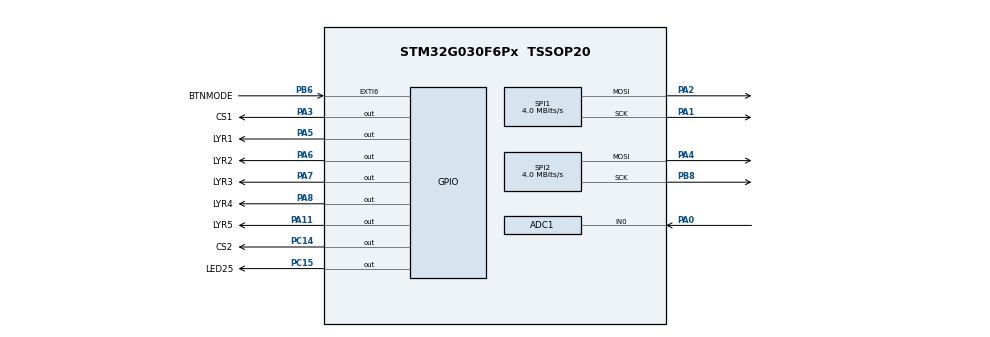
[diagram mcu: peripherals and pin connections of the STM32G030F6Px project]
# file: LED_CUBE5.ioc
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ADC1.Channel-0\#ChannelRegularConversion=ADC_CHANNEL_0
ADC1.NbrOfConversionFlag=1
ADC1.Rank-0\#ChannelRegularConversion=1
ADC1.SamplingTime-0\#ChannelRegularConversion=ADC_SAMPLINGTIME_COMMON_1
ADC1.SelectedChannel=ADC_CHANNEL_0
ADC1.master=1
Mcu.Family=STM32G0
Mcu.Name=STM32G030F6Px
Mcu.Package=TSSOP20
NVIC.EXTI4_15_IRQn=true\:0\:0\:false\:false\:true\:true\:true\:true
NVIC.TIM1_BRK_UP_TRG_COM_IRQn=true\:0\:0\:false\:false\:true\:true\:true\:true
NVIC.TIM3_IRQn=true\:0\:0\:false\:false\:true\:true\:true\:true
PA0.Mode=IN0
PA0.Signal=ADC1_IN0
PA1.Mode=TX_Only_Simplex_Unidirect_Master
PA1.Signal=SPI1_SCK
PA11\ [PA9].GPIO_Label=LYR5
PA11\ [PA9].Signal=GPIO_Output
PA13.Mode=Serial_Wire
PA13.Signal=SYS_SWDIO
PA14-BOOT0.Mode=Serial_Wire
PA14-BOOT0.Signal=SYS_SWCLK
PA14-BOOT0__PA15.StandardMode=true
PA2.Mode=TX_Only_Simplex_Unidirect_Master
PA2.Signal=SPI1_MOSI
PA3.GPIO_Label=CS1
PA3.Signal=GPIO_Output
PA4.Mode=TX_Only_Simplex_Unidirect_Master
PA4.Signal=SPI2_MOSI
PA5.GPIO_Label=LYR1
PA5.Signal=GPIO_Output
PA6.GPIO_Label=LYR2
PA6.Signal=GPIO_Output
PA7.GPIO_Label=LYR3
PA7.Signal=GPIO_Output
PA8.GPIO_Label=LYR4
PA8.Signal=GPIO_Output
PB0__PB1__PB2__PA8.StandardMode=true
PB3__PB4__PB5__PB6.StandardMode=true
PB6.GPIO_Label=BTNMODE
PB6.Signal=GPXTI6
PB7__PB8.StandardMode=true
PB8.Mode=TX_Only_Simplex_Unidirect_Master
PB8.Signal=SPI2_SCK
PC14-OSC32_IN\ (PC14).GPIO_Label=CS2
PC14-OSC32_IN\ (PC14).Signal=GPIO_Output
PC14-OSC32_IN\ (PC14)__PB9.StandardMode=true
PC15-OSC32_OUT\ (PC15).GPIO_Label=LED25
PC15-OSC32_OUT\ (PC15).Signal=GPIO_Output
ProjectManager.HeapSize=0x200
ProjectManager.StackSize=0x400
ProjectManager.TargetToolchain=STM32CubeIDE
RCC.ADCFreq_Value=64000000
RCC.AHBFreq_Value=64000000
RCC.CortexFreq_Value=64000000
RCC.EXTERNAL_CLOCK_VALUE=12288000
RCC.HCLKFreq_Value=64000000
RCC.HSE_VALUE=8000000
RCC.HSI_VALUE=16000000
RCC.LSE_VALUE=32768
RCC.SYSCLKFreq_VALUE=64000000
RCC.SYSCLKSource=RCC_SYSCLKSOURCE_PLLCLK
RCC.USART1CLockSelection=RCC_USART1CLKSOURCE_SYSCLK
RCC.VCOOutputFreq_Value=128000000
SPI1.BaudRatePrescaler=SPI_BAUDRATEPRESCALER_16
SPI1.CalculateBaudRate=4.0 MBits/s
SPI1.DataSize=SPI_DATASIZE_16BIT
SPI1.Direction=SPI_DIRECTION_2LINES
SPI1.Mode=SPI_MODE_MASTER
SPI1.VirtualType=VM_MASTER
SPI2.BaudRatePrescaler=SPI_BAUDRATEPRESCALER_16
SPI2.CalculateBaudRate=4.0 MBits/s
SPI2.Direction=SPI_DIRECTION_2LINES
SPI2.Mode=SPI_MODE_MASTER
SPI2.VirtualType=VM_MASTER
TIM1.Period=36999
TIM1.Prescaler=1
TIM1.TIM_MasterOutputTrigger=TIM_TRGO_UPDATE
TIM3.Period=59999
TIM3.Prescaler=319
TIM3.TIM_MasterOutputTrigger=TIM_TRGO_UPDATE
VP_TIM1_VS_ClockSourceINT.Mode=Internal
VP_TIM3_VS_ClockSourceINT.Mode=Internal
board=custom

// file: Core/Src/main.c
/* USER CODE BEGIN Header */
/**
  ******************************************************************************
  * @file           : main.c
  * @brief          : Main program body
  ******************************************************************************
  * @attention
  *
  * Copyright (c) 2026 STMicroelectronics.
  * All rights reserved.
  *
  * This software is licensed under terms that can be found in the LICENSE file
  * in the root directory of this software component.
  * If no LICENSE file comes with this software, it is provided AS-IS.
  *
  ******************************************************************************
  */
/* USER CODE END Header */
#include "main.h"

/* USER CODE BEGIN PD */
#define LAYER1_ON	LL_GPIO_SetOutputPin(LYR1_GPIO_Port, LYR1_Pin);
#define LAYER2_ON	LL_GPIO_SetOutputPin(LYR2_GPIO_Port, LYR2_Pin);
#define LAYER3_ON	LL_GPIO_SetOutputPin(LYR3_GPIO_Port, LYR3_Pin);
#define LAYER4_ON	LL_GPIO_SetOutputPin(LYR4_GPIO_Port, LYR4_Pin);
#define LAYER5_ON	LL_GPIO_SetOutputPin(LYR5_GPIO_Port, LYR5_Pin);

#define LAYER1_OFF	LL_GPIO_ResetOutputPin(LYR1_GPIO_Port, LYR1_Pin);
#define LAYER2_OFF	LL_GPIO_ResetOutputPin(LYR2_GPIO_Port, LYR2_Pin);
#define LAYER3_OFF	LL_GPIO_ResetOutputPin(LYR3_GPIO_Port, LYR3_Pin);
#define LAYER4_OFF	LL_GPIO_ResetOutputPin(LYR4_GPIO_Port, LYR4_Pin);
#define LAYER5_OFF	LL_GPIO_ResetOutputPin(LYR5_GPIO_Port, LYR5_Pin);

/* USER CODE END PD */

/* USER CODE BEGIN PV */
volatile uint8_t tim1_fl = 0;   //Прапорець переривання від таймеру 1
volatile uint8_t tim3_fl = 0;	//Прапорець переривання від таймеру 3
volatile uint8_t tim3_time = 0; //Рахівник часу від таймеру 3
volatile uint8_t adc_fl = 0;	//Прапорець переривання для адс
volatile uint8_t modeBtn = 0;	//Режим кубу
volatile uint32_t cube[5] = {0};//Масив світлодіодів
static uint8_t pos = 0;			//Позиція для режимів

typedef struct{
    uint8_t pos;
    int8_t layer;
    uint8_t active;
} Drop;							//Структура для режиму дощу

#define DROP_COUNT 8			//Максимальна кількість краплинок

Drop drops[DROP_COUNT];			//Масив структур

/* USER CODE END PV */

void SystemClock_Config(void);
static void MX_GPIO_Init(void);
static void MX_SPI1_Init(void);
static void MX_SPI2_Init(void);
static void MX_TIM1_Init(void);
static void MX_TIM3_Init(void);
static void MX_ADC1_Init(void);

/* USER CODE BEGIN 0 */
uint16_t Conversion_ADC(ADC_TypeDef *ADCx){
	LL_ADC_REG_StartConversion(ADCx);
	while(!LL_ADC_IsActiveFlag_EOS(ADCx)){}
	LL_ADC_ClearFlag_EOS(ADCx);
	return LL_ADC_REG_ReadConversionData12(ADCx);
}

void BataryProcess(void){
	if(adc_fl){
		adc_fl = 0;
		uint16_t adc_data = Conversion_ADC(ADC1);
		float Vbat = (3.3f * adc_data* 2.0f) / 4095.0f;
		if(Vbat < 3.2f){
			while(1){}
		}
	}
}

static uint32_t rnd = 0xA5A5A5A5;

uint32_t Random32(void){
    uint32_t bit;

    bit = ((rnd >> 0) ^
           (rnd >> 2) ^
           (rnd >> 3) ^
           (rnd >> 5)) & 1;

    rnd = (rnd >> 1) | (bit << 31);

    rnd ^= TIM1->CNT;
    rnd ^= TIM3->CNT << 8;

    return rnd;
}

void LayerOff(void){
	LAYER1_OFF;
	LAYER2_OFF;
	LAYER3_OFF;
	LAYER4_OFF;
	LAYER5_OFF;
}

void LayerSwitsh(uint8_t l){
	switch(l){
	case 0:{ LAYER1_ON; }break;
	case 1:{ LAYER2_ON; }break;
	case 2:{ LAYER3_ON; }break;
	case 3:{ LAYER4_ON; }break;
	case 4:{ LAYER5_ON; }break;
	}
}

void Set_Led_On(uint8_t l,uint8_t idx){
	cube[l] |= (1UL << idx);
}

void Set_Led_Off(uint8_t l,uint8_t idx){
	cube[l] &= ~(1UL << idx);
}

void LedLayer(uint8_t l){
    uint32_t data = cube[l];

    SPI_Send16Bits(SPI1, (uint16_t)data);
    LL_GPIO_SetOutputPin(CS1_GPIO_Port, CS1_Pin);
    LL_GPIO_ResetOutputPin(CS1_GPIO_Port, CS1_Pin);

    SPI_Send8Bits(SPI2, (data>>16));
    LL_GPIO_SetOutputPin(CS2_GPIO_Port, CS2_Pin);
    LL_GPIO_ResetOutputPin(CS2_GPIO_Port, CS2_Pin);

    if(data & (1 << 24))
        LL_GPIO_SetOutputPin(LED25_GPIO_Port, LED25_Pin);
    else
        LL_GPIO_ResetOutputPin(LED25_GPIO_Port, LED25_Pin);
}

void LayerProcess(uint8_t *l){
	  if(tim1_fl){
		  tim1_fl = 0;
		  LayerOff();
		  LedLayer(*l);
		  LayerSwitsh(*l);
		  *l = (*l) + 1;
		  if(*l > 4){ *l = 0; }
	  }
}

void Mode_FillCube(void){
	if(tim3_fl){
		tim3_fl = 0;
		for(uint8_t i = 0; i< 5; i++){
			for(uint8_t j = 0; j< 25; j++){
				Set_Led_On(i, j);
			}
		}
    }
}

void Mode_Wall(void){
  if(tim3_fl){
	  tim3_fl = 0;
	  uint8_t cm[4][5] = 	  { {10,11,12,13,14},
	  							{0, 6, 12,18,24},
	  							{2, 7, 12,17,22},
	  							{4, 8, 12,16,20}};
	 for(uint8_t i = 0; i< 5; i++){
		 cube[i] = 0;
		 for(uint8_t j = 0; j< 5; j++){
			 Set_Led_On(i, cm[pos][j]);
		 }
	 }
	pos++;
	if(pos > 3)
	  pos = 0;
  }
}

void Mode_Сross(void){
	for(uint8_t i = 0; i < 25; i++){
		Set_Led_On(2, i);
	}
	for(uint8_t i = 0; i < 5; i++){
		Set_Led_On(i, 2);
		Set_Led_On(i, 7);
		Set_Led_On(i, 10);
		Set_Led_On(i, 11);
		Set_Led_On(i, 12);
		Set_Led_On(i, 13);
		Set_Led_On(i, 14);
		Set_Led_On(i, 17);
		Set_Led_On(i, 22);
	}
}

void Mode_Circuit(void){
    if(tim3_fl){
        tim3_fl = 0;
    	Set_Led_On(0, 12);
    	Set_Led_On(1, 11);
    	Set_Led_On(1, 13);
    	Set_Led_On(2, 10);
    	Set_Led_On(2, 14);
    	Set_Led_On(3, 11);
    	Set_Led_On(3, 13);
    	Set_Led_On(4, 12);

    	Set_Led_On(1, 17);
    	Set_Led_On(1, 7);
    	Set_Led_On(2, 22);
    	Set_Led_On(2, 2);
    	Set_Led_On(3, 7);
    	Set_Led_On(3, 17);

    	Set_Led_On(2, 16);
    	Set_Led_On(2, 18);
    	Set_Led_On(2, 6);
    	Set_Led_On(2, 8);
    }
}

void Mode_RandCol(void){
    if(tim3_fl){
        tim3_fl = 0;
        tim3_time++;
    }

    if(tim3_time > 2){
        tim3_time = 0;

        uint8_t columns[25] = {0};
        uint8_t count = (Random32() % 8) + 1;

        for(uint8_t i = 0; i < count; i++){
            uint8_t led = Random32() % 25;
            uint8_t height = (Random32() % 5) + 1;
            columns[led] = height;
        }

        for(uint8_t layer = 0; layer < 5; layer++)
            cube[layer] = 0;

        for(uint8_t led = 0; led < 25; led++){
            for(uint8_t layer = 0; layer < columns[led]; layer++){
                Set_Led_On(layer, led);
            }
        }
    }
}

void Mode_Rotate(void){
	  if(tim3_fl){
		  tim3_fl = 0;
		  uint8_t cm[4][4] = { {0, 4,  24, 20},
		  					   {1, 9,  23, 15},
		  					   {2, 14, 22, 10},
		  					   {3, 19, 21, 5 }};
		 for(uint8_t i = 0; i< 5; i++){
			 cube[i] = 0;
			 for(uint8_t j = 0; j< 4; j++){
				 Set_Led_On(i, cm[pos][j]);
			 }
		 }
		pos++;
		if(pos > 3)
		  pos = 0;
	  }
}

void Drop_Create(Drop *d){
    d->pos = Random32() % 25;
    d->layer = 4;
    d->active = 1;
}

void Mode_Rain(void){
    if(tim3_fl){
        tim3_fl = 0;
        for(uint8_t i = 0; i < 5; i++)
            cube[i] = 0;

        for(uint8_t i = 0; i < DROP_COUNT; i++){
            if(!drops[i].active){
                Drop_Create(&drops[i]);
            }
            Set_Led_On(drops[i].layer, drops[i].pos);
            if(drops[i].layer < 4){
                Set_Led_On(drops[i].layer + 1, drops[i].pos);
            }

            drops[i].layer--;
            if(drops[i].layer < 0){
                drops[i].active = 0;
            }
        }
    }
}

void ModeProcess(uint8_t *m){
	if(modeBtn){
		modeBtn = 0;
		*m = *m + 1;
		if(*m > 6){ *m = 0; }
    	for(uint8_t i = 0; i < 5; i++){
    		cube[i] = 0;
    	}
        for(uint8_t i = 0; i < DROP_COUNT; i++){
            drops[i].active = 0;
        }
    	pos = 0;
	}

	switch(*m){
	case 0:{
		Mode_FillCube();
	}break;
	case 1:{
		Mode_Сross();
	}break;
	case 2:{
		Mode_Circuit();
	}break;
	case 3:{
		Mode_Wall();
	}break;
	case 4:{
		Mode_RandCol();
	}break;
	case 5:{
		Mode_Rotate();
	}break;
	case 6:{
		Mode_Rain();
	}break;
	}
}
/* USER CODE END 0 */

int main(void)
{

  /* MCU Configuration--------------------------------------------------------*/

  /* Reset of all peripherals, Initializes the Flash interface and the Systick. */
  LL_APB2_GRP1_EnableClock(LL_APB2_GRP1_PERIPH_SYSCFG);
  LL_APB1_GRP1_EnableClock(LL_APB1_GRP1_PERIPH_PWR);

  /* SysTick_IRQn interrupt configuration */
  NVIC_SetPriority(SysTick_IRQn, 3);

  /* Configure the system clock */
  SystemClock_Config();

  /* Initialize all configured peripherals */
  MX_GPIO_Init();
  MX_SPI1_Init();
  MX_SPI2_Init();
  MX_TIM1_Init();
  MX_TIM3_Init();
  MX_ADC1_Init();
  /* USER CODE BEGIN 2 */

  LL_SPI_Enable(SPI1);
  LL_SPI_Enable(SPI2);

  LL_TIM_EnableCounter(TIM1);
  LL_TIM_EnableIT_UPDATE(TIM1);

  LL_TIM_EnableCounter(TIM3);
  LL_TIM_EnableIT_UPDATE(TIM3);

  LL_ADC_StartCalibration(ADC1);
  while(LL_ADC_IsCalibrationOnGoing(ADC1) != 0) {}
  LL_ADC_Enable(ADC1);

  uint8_t layerSet = 0;
  uint8_t mode = 0;
  modeBtn = 0;

  /* USER CODE END 2 */

  /* Infinite loop */
  /* USER CODE BEGIN WHILE */
  while (1)
  {
	  BataryProcess();
	  LayerProcess(&layerSet);
	  ModeProcess(&mode);

    /* USER CODE END WHILE */

  }
}

void SystemClock_Config(void)
{
  LL_FLASH_SetLatency(LL_FLASH_LATENCY_2);
  while(LL_FLASH_GetLatency() != LL_FLASH_LATENCY_2)
  {
  }

  /* HSI configuration and activation */
  LL_RCC_HSI_Enable();
  while(LL_RCC_HSI_IsReady() != 1)
  {
  }

  /* Main PLL configuration and activation */
  LL_RCC_PLL_ConfigDomain_SYS(LL_RCC_PLLSOURCE_HSI, LL_RCC_PLLM_DIV_1, 8, LL_RCC_PLLR_DIV_2);
  LL_RCC_PLL_Enable();
  LL_RCC_PLL_EnableDomain_SYS();
  while(LL_RCC_PLL_IsReady() != 1)
  {
  }

  /* Set AHB prescaler*/
  LL_RCC_SetAHBPrescaler(LL_RCC_SYSCLK_DIV_1);

  /* Sysclk activation on the main PLL */
  LL_RCC_SetSysClkSource(LL_RCC_SYS_CLKSOURCE_PLL);
  while(LL_RCC_GetSysClkSource() != LL_RCC_SYS_CLKSOURCE_STATUS_PLL)
  {
  }

  /* Set APB1 prescaler*/
  LL_RCC_SetAPB1Prescaler(LL_RCC_APB1_DIV_1);

  LL_Init1msTick(64000000);

  /* Update CMSIS variable (which can be updated also through SystemCoreClockUpdate function) */
  LL_SetSystemCoreClock(64000000);
}

static void MX_ADC1_Init(void)
{

  LL_ADC_InitTypeDef ADC_InitStruct = {0};
  LL_ADC_REG_InitTypeDef ADC_REG_InitStruct = {0};

  LL_GPIO_InitTypeDef GPIO_InitStruct = {0};

  /* Peripheral clock enable */
  LL_APB2_GRP1_EnableClock(LL_APB2_GRP1_PERIPH_ADC);

  LL_IOP_GRP1_EnableClock(LL_IOP_GRP1_PERIPH_GPIOA);
  /**ADC1 GPIO Configuration
  PA0   ------> ADC1_IN0
  */
  GPIO_InitStruct.Pin = LL_GPIO_PIN_0;
  GPIO_InitStruct.Mode = LL_GPIO_MODE_ANALOG;
  GPIO_InitStruct.Pull = LL_GPIO_PULL_NO;
  LL_GPIO_Init(GPIOA, &GPIO_InitStruct);

  /** Configure the global features of the ADC (Clock, Resolution, Data Alignment and number of conversion)
  */

   #define ADC_CHANNEL_CONF_RDY_TIMEOUT_MS ( 1U)
   #if (USE_TIMEOUT == 1)
   uint32_t Timeout ; /* Variable used for Timeout management */
   #endif /* USE_TIMEOUT */

  ADC_InitStruct.Clock = LL_ADC_CLOCK_SYNC_PCLK_DIV2;
  ADC_InitStruct.Resolution = LL_ADC_RESOLUTION_12B;
  ADC_InitStruct.DataAlignment = LL_ADC_DATA_ALIGN_RIGHT;
  ADC_InitStruct.LowPowerMode = LL_ADC_LP_MODE_NONE;
  LL_ADC_Init(ADC1, &ADC_InitStruct);
  LL_ADC_REG_SetSequencerConfigurable(ADC1, LL_ADC_REG_SEQ_CONFIGURABLE);

   /* Poll for ADC channel configuration ready */
   #if (USE_TIMEOUT == 1)
   Timeout = ADC_CHANNEL_CONF_RDY_TIMEOUT_MS;
   #endif /* USE_TIMEOUT */
   while (LL_ADC_IsActiveFlag_CCRDY(ADC1) == 0)
     {
   #if (USE_TIMEOUT == 1)
   /* Check Systick counter flag to decrement the time-out value */
   if (LL_SYSTICK_IsActiveCounterFlag())
     {
   if(Timeout-- == 0)
         {
   Error_Handler();
         }
     }
   #endif /* USE_TIMEOUT */
     }
   /* Clear flag ADC channel configuration ready */
   LL_ADC_ClearFlag_CCRDY(ADC1);
  ADC_REG_InitStruct.TriggerSource = LL_ADC_REG_TRIG_SOFTWARE;
  ADC_REG_InitStruct.SequencerLength = LL_ADC_REG_SEQ_SCAN_DISABLE;
  ADC_REG_InitStruct.SequencerDiscont = LL_ADC_REG_SEQ_DISCONT_DISABLE;
  ADC_REG_InitStruct.ContinuousMode = LL_ADC_REG_CONV_SINGLE;
  ADC_REG_InitStruct.DMATransfer = LL_ADC_REG_DMA_TRANSFER_NONE;
  ADC_REG_InitStruct.Overrun = LL_ADC_REG_OVR_DATA_PRESERVED;
  LL_ADC_REG_Init(ADC1, &ADC_REG_InitStruct);
  LL_ADC_SetOverSamplingScope(ADC1, LL_ADC_OVS_DISABLE);
  LL_ADC_SetTriggerFrequencyMode(ADC1, LL_ADC_CLOCK_FREQ_MODE_HIGH);
  LL_ADC_SetSamplingTimeCommonChannels(ADC1, LL_ADC_SAMPLINGTIME_COMMON_1, LL_ADC_SAMPLINGTIME_1CYCLE_5);
  LL_ADC_SetSamplingTimeCommonChannels(ADC1, LL_ADC_SAMPLINGTIME_COMMON_2, LL_ADC_SAMPLINGTIME_1CYCLE_5);
  LL_ADC_DisableIT_EOC(ADC1);
  LL_ADC_DisableIT_EOS(ADC1);

   /* Enable ADC internal voltage regulator */
   LL_ADC_EnableInternalRegulator(ADC1);
   /* Delay for ADC internal voltage regulator stabilization. */
   /* Compute number of CPU cycles to wait for, from delay in us. */
   /* Note: Variable divided by 2 to compensate partially */
   /* CPU processing cycles (depends on compilation optimization). */
   /* Note: If system core clock frequency is below 200kHz, wait time */
   /* is only a few CPU processing cycles. */
   __IO uint32_t wait_loop_index;
   wait_loop_index = ((LL_ADC_DELAY_INTERNAL_REGUL_STAB_US * (SystemCoreClock / (100000 * 2))) / 10);
   while(wait_loop_index != 0)
     {
   wait_loop_index--;
     }

  /** Configure Regular Channel
  */
  LL_ADC_REG_SetSequencerRanks(ADC1, LL_ADC_REG_RANK_1, LL_ADC_CHANNEL_0);
  LL_ADC_SetChannelSamplingTime(ADC1, LL_ADC_CHANNEL_0, LL_ADC_SAMPLINGTIME_COMMON_1);

}

static void MX_SPI1_Init(void)
{

  LL_SPI_InitTypeDef SPI_InitStruct = {0};

  LL_GPIO_InitTypeDef GPIO_InitStruct = {0};

  /* Peripheral clock enable */
  LL_APB2_GRP1_EnableClock(LL_APB2_GRP1_PERIPH_SPI1);

  LL_IOP_GRP1_EnableClock(LL_IOP_GRP1_PERIPH_GPIOA);
  /**SPI1 GPIO Configuration
  PA1   ------> SPI1_SCK
  PA2   ------> SPI1_MOSI
  */
  GPIO_InitStruct.Pin = LL_GPIO_PIN_1;
  GPIO_InitStruct.Mode = LL_GPIO_MODE_ALTERNATE;
  GPIO_InitStruct.Speed = LL_GPIO_SPEED_FREQ_LOW;
  GPIO_InitStruct.OutputType = LL_GPIO_OUTPUT_PUSHPULL;
  GPIO_InitStruct.Pull = LL_GPIO_PULL_NO;
  GPIO_InitStruct.Alternate = LL_GPIO_AF_0;
  LL_GPIO_Init(GPIOA, &GPIO_InitStruct);

  GPIO_InitStruct.Pin = LL_GPIO_PIN_2;
  GPIO_InitStruct.Mode = LL_GPIO_MODE_ALTERNATE;
  GPIO_InitStruct.Speed = LL_GPIO_SPEED_FREQ_LOW;
  GPIO_InitStruct.OutputType = LL_GPIO_OUTPUT_PUSHPULL;
  GPIO_InitStruct.Pull = LL_GPIO_PULL_NO;
  GPIO_InitStruct.Alternate = LL_GPIO_AF_0;
  LL_GPIO_Init(GPIOA, &GPIO_InitStruct);

  /* SPI1 parameter configuration*/
  SPI_InitStruct.TransferDirection = LL_SPI_FULL_DUPLEX;
  SPI_InitStruct.Mode = LL_SPI_MODE_MASTER;
  SPI_InitStruct.DataWidth = LL_SPI_DATAWIDTH_16BIT;
  SPI_InitStruct.ClockPolarity = LL_SPI_POLARITY_LOW;
  SPI_InitStruct.ClockPhase = LL_SPI_PHASE_1EDGE;
  SPI_InitStruct.NSS = LL_SPI_NSS_SOFT;
  SPI_InitStruct.BaudRate = LL_SPI_BAUDRATEPRESCALER_DIV16;
  SPI_InitStruct.BitOrder = LL_SPI_MSB_FIRST;
  SPI_InitStruct.CRCCalculation = LL_SPI_CRCCALCULATION_DISABLE;
  SPI_InitStruct.CRCPoly = 7;
  LL_SPI_Init(SPI1, &SPI_InitStruct);
  LL_SPI_SetStandard(SPI1, LL_SPI_PROTOCOL_MOTOROLA);
  LL_SPI_EnableNSSPulseMgt(SPI1);

}

static void MX_SPI2_Init(void)
{

  LL_SPI_InitTypeDef SPI_InitStruct = {0};

  LL_GPIO_InitTypeDef GPIO_InitStruct = {0};

  /* Peripheral clock enable */
  LL_APB1_GRP1_EnableClock(LL_APB1_GRP1_PERIPH_SPI2);

  LL_IOP_GRP1_EnableClock(LL_IOP_GRP1_PERIPH_GPIOB);
  LL_IOP_GRP1_EnableClock(LL_IOP_GRP1_PERIPH_GPIOA);
  /**SPI2 GPIO Configuration
  PB8   ------> SPI2_SCK
  PA4   ------> SPI2_MOSI
  */
  GPIO_InitStruct.Pin = LL_GPIO_PIN_8;
  GPIO_InitStruct.Mode = LL_GPIO_MODE_ALTERNATE;
  GPIO_InitStruct.Speed = LL_GPIO_SPEED_FREQ_LOW;
  GPIO_InitStruct.OutputType = LL_GPIO_OUTPUT_PUSHPULL;
  GPIO_InitStruct.Pull = LL_GPIO_PULL_NO;
  GPIO_InitStruct.Alternate = LL_GPIO_AF_1;
  LL_GPIO_Init(GPIOB, &GPIO_InitStruct);

  GPIO_InitStruct.Pin = LL_GPIO_PIN_4;
  GPIO_InitStruct.Mode = LL_GPIO_MODE_ALTERNATE;
  GPIO_InitStruct.Speed = LL_GPIO_SPEED_FREQ_LOW;
  GPIO_InitStruct.OutputType = LL_GPIO_OUTPUT_PUSHPULL;
  GPIO_InitStruct.Pull = LL_GPIO_PULL_NO;
  GPIO_InitStruct.Alternate = LL_GPIO_AF_1;
  LL_GPIO_Init(GPIOA, &GPIO_InitStruct);

  /* SPI2 parameter configuration*/
  SPI_InitStruct.TransferDirection = LL_SPI_FULL_DUPLEX;
  SPI_InitStruct.Mode = LL_SPI_MODE_MASTER;
  SPI_InitStruct.DataWidth = LL_SPI_DATAWIDTH_8BIT;
  SPI_InitStruct.ClockPolarity = LL_SPI_POLARITY_LOW;
  SPI_InitStruct.ClockPhase = LL_SPI_PHASE_1EDGE;
  SPI_InitStruct.NSS = LL_SPI_NSS_SOFT;
  SPI_InitStruct.BaudRate = LL_SPI_BAUDRATEPRESCALER_DIV16;
  SPI_InitStruct.BitOrder = LL_SPI_MSB_FIRST;
  SPI_InitStruct.CRCCalculation = LL_SPI_CRCCALCULATION_DISABLE;
  SPI_InitStruct.CRCPoly = 7;
  LL_SPI_Init(SPI2, &SPI_InitStruct);
  LL_SPI_SetStandard(SPI2, LL_SPI_PROTOCOL_MOTOROLA);
  LL_SPI_EnableNSSPulseMgt(SPI2);

}

static void MX_TIM1_Init(void)
{

  LL_TIM_InitTypeDef TIM_InitStruct = {0};

  /* Peripheral clock enable */
  LL_APB2_GRP1_EnableClock(LL_APB2_GRP1_PERIPH_TIM1);

  /* TIM1 interrupt Init */
  NVIC_SetPriority(TIM1_BRK_UP_TRG_COM_IRQn, 0);
  NVIC_EnableIRQ(TIM1_BRK_UP_TRG_COM_IRQn);

  TIM_InitStruct.Prescaler = 1;
  TIM_InitStruct.CounterMode = LL_TIM_COUNTERMODE_UP;
  TIM_InitStruct.Autoreload = 36999;
  TIM_InitStruct.ClockDivision = LL_TIM_CLOCKDIVISION_DIV1;
  TIM_InitStruct.RepetitionCounter = 0;
  LL_TIM_Init(TIM1, &TIM_InitStruct);
  LL_TIM_DisableARRPreload(TIM1);
  LL_TIM_SetClockSource(TIM1, LL_TIM_CLOCKSOURCE_INTERNAL);
  LL_TIM_SetTriggerOutput(TIM1, LL_TIM_TRGO_UPDATE);
  LL_TIM_SetTriggerOutput2(TIM1, LL_TIM_TRGO2_RESET);
  LL_TIM_DisableMasterSlaveMode(TIM1);

}

static void MX_TIM3_Init(void)
{

  LL_TIM_InitTypeDef TIM_InitStruct = {0};

  /* Peripheral clock enable */
  LL_APB1_GRP1_EnableClock(LL_APB1_GRP1_PERIPH_TIM3);

  /* TIM3 interrupt Init */
  NVIC_SetPriority(TIM3_IRQn, 0);
  NVIC_EnableIRQ(TIM3_IRQn);

  TIM_InitStruct.Prescaler = 319;
  TIM_InitStruct.CounterMode = LL_TIM_COUNTERMODE_UP;
  TIM_InitStruct.Autoreload = 59999;
  TIM_InitStruct.ClockDivision = LL_TIM_CLOCKDIVISION_DIV1;
  LL_TIM_Init(TIM3, &TIM_InitStruct);
  LL_TIM_DisableARRPreload(TIM3);
  LL_TIM_SetClockSource(TIM3, LL_TIM_CLOCKSOURCE_INTERNAL);
  LL_TIM_SetTriggerOutput(TIM3, LL_TIM_TRGO_UPDATE);
  LL_TIM_DisableMasterSlaveMode(TIM3);

}

static void MX_GPIO_Init(void)
{
  LL_EXTI_InitTypeDef EXTI_InitStruct = {0};
  LL_GPIO_InitTypeDef GPIO_InitStruct = {0};

  /* GPIO Ports Clock Enable */
  LL_IOP_GRP1_EnableClock(LL_IOP_GRP1_PERIPH_GPIOB);
  LL_IOP_GRP1_EnableClock(LL_IOP_GRP1_PERIPH_GPIOC);
  LL_IOP_GRP1_EnableClock(LL_IOP_GRP1_PERIPH_GPIOA);

  /**/
  LL_GPIO_ResetOutputPin(CS2_GPIO_Port, CS2_Pin);

  /**/
  LL_GPIO_ResetOutputPin(LED25_GPIO_Port, LED25_Pin);

  /**/
  LL_GPIO_ResetOutputPin(CS1_GPIO_Port, CS1_Pin);

  /**/
  LL_GPIO_ResetOutputPin(LYR1_GPIO_Port, LYR1_Pin);

  /**/
  LL_GPIO_ResetOutputPin(LYR2_GPIO_Port, LYR2_Pin);

  /**/
  LL_GPIO_ResetOutputPin(LYR3_GPIO_Port, LYR3_Pin);

  /**/
  LL_GPIO_ResetOutputPin(LYR4_GPIO_Port, LYR4_Pin);

  /**/
  LL_GPIO_ResetOutputPin(LYR5_GPIO_Port, LYR5_Pin);

  /**/
  GPIO_InitStruct.Pin = CS2_Pin;
  GPIO_InitStruct.Mode = LL_GPIO_MODE_OUTPUT;
  GPIO_InitStruct.Speed = LL_GPIO_SPEED_FREQ_LOW;
  GPIO_InitStruct.OutputType = LL_GPIO_OUTPUT_PUSHPULL;
  GPIO_InitStruct.Pull = LL_GPIO_PULL_NO;
  LL_GPIO_Init(CS2_GPIO_Port, &GPIO_InitStruct);

  /**/
  GPIO_InitStruct.Pin = LED25_Pin;
  GPIO_InitStruct.Mode = LL_GPIO_MODE_OUTPUT;
  GPIO_InitStruct.Speed = LL_GPIO_SPEED_FREQ_LOW;
  GPIO_InitStruct.OutputType = LL_GPIO_OUTPUT_PUSHPULL;
  GPIO_InitStruct.Pull = LL_GPIO_PULL_NO;
  LL_GPIO_Init(LED25_GPIO_Port, &GPIO_InitStruct);

  /**/
  GPIO_InitStruct.Pin = CS1_Pin;
  GPIO_InitStruct.Mode = LL_GPIO_MODE_OUTPUT;
  GPIO_InitStruct.Speed = LL_GPIO_SPEED_FREQ_LOW;
  GPIO_InitStruct.OutputType = LL_GPIO_OUTPUT_PUSHPULL;
  GPIO_InitStruct.Pull = LL_GPIO_PULL_NO;
  LL_GPIO_Init(CS1_GPIO_Port, &GPIO_InitStruct);

  /**/
  GPIO_InitStruct.Pin = LYR1_Pin;
  GPIO_InitStruct.Mode = LL_GPIO_MODE_OUTPUT;
  GPIO_InitStruct.Speed = LL_GPIO_SPEED_FREQ_LOW;
  GPIO_InitStruct.OutputType = LL_GPIO_OUTPUT_PUSHPULL;
  GPIO_InitStruct.Pull = LL_GPIO_PULL_NO;
  LL_GPIO_Init(LYR1_GPIO_Port, &GPIO_InitStruct);

  /**/
  GPIO_InitStruct.Pin = LYR2_Pin;
  GPIO_InitStruct.Mode = LL_GPIO_MODE_OUTPUT;
  GPIO_InitStruct.Speed = LL_GPIO_SPEED_FREQ_LOW;
  GPIO_InitStruct.OutputType = LL_GPIO_OUTPUT_PUSHPULL;
  GPIO_InitStruct.Pull = LL_GPIO_PULL_NO;
  LL_GPIO_Init(LYR2_GPIO_Port, &GPIO_InitStruct);

  /**/
  GPIO_InitStruct.Pin = LYR3_Pin;
  GPIO_InitStruct.Mode = LL_GPIO_MODE_OUTPUT;
  GPIO_InitStruct.Speed = LL_GPIO_SPEED_FREQ_LOW;
  GPIO_InitStruct.OutputType = LL_GPIO_OUTPUT_PUSHPULL;
  GPIO_InitStruct.Pull = LL_GPIO_PULL_NO;
  LL_GPIO_Init(LYR3_GPIO_Port, &GPIO_InitStruct);

  /**/
  GPIO_InitStruct.Pin = LYR4_Pin;
  GPIO_InitStruct.Mode = LL_GPIO_MODE_OUTPUT;
  GPIO_InitStruct.Speed = LL_GPIO_SPEED_FREQ_LOW;
  GPIO_InitStruct.OutputType = LL_GPIO_OUTPUT_PUSHPULL;
  GPIO_InitStruct.Pull = LL_GPIO_PULL_NO;
  LL_GPIO_Init(LYR4_GPIO_Port, &GPIO_InitStruct);

  /**/
  GPIO_InitStruct.Pin = LYR5_Pin;
  GPIO_InitStruct.Mode = LL_GPIO_MODE_OUTPUT;
  GPIO_InitStruct.Speed = LL_GPIO_SPEED_FREQ_LOW;
  GPIO_InitStruct.OutputType = LL_GPIO_OUTPUT_PUSHPULL;
  GPIO_InitStruct.Pull = LL_GPIO_PULL_NO;
  LL_GPIO_Init(LYR5_GPIO_Port, &GPIO_InitStruct);

  /**/
  LL_EXTI_SetEXTISource(LL_EXTI_CONFIG_PORTB, LL_EXTI_CONFIG_LINE6);

  /**/
  EXTI_InitStruct.Line_0_31 = LL_EXTI_LINE_6;
  EXTI_InitStruct.LineCommand = ENABLE;
  EXTI_InitStruct.Mode = LL_EXTI_MODE_IT;
  EXTI_InitStruct.Trigger = LL_EXTI_TRIGGER_RISING;
  LL_EXTI_Init(&EXTI_InitStruct);

  /**/
  LL_GPIO_SetPinPull(BTNMODE_GPIO_Port, BTNMODE_Pin, LL_GPIO_PULL_NO);

  /**/
  LL_GPIO_SetPinMode(BTNMODE_GPIO_Port, BTNMODE_Pin, LL_GPIO_MODE_INPUT);

  /* EXTI interrupt init*/
  NVIC_SetPriority(EXTI4_15_IRQn, 0);
  NVIC_EnableIRQ(EXTI4_15_IRQn);

}

/* USER CODE BEGIN 4 */
void TIM1_IT(void){
	if (LL_TIM_IsActiveFlag_UPDATE(TIM1)) {
		LL_TIM_ClearFlag_UPDATE(TIM1);
		tim1_fl = 1;
	}
}

void TIM3_IT(void){
	if (LL_TIM_IsActiveFlag_UPDATE(TIM3)) {
		LL_TIM_ClearFlag_UPDATE(TIM3);
		tim3_fl = 1;
		adc_fl = 1;
	}
}

void MODE_IT(void){
	modeBtn = 1;
}
/* USER CODE END 4 */

void Error_Handler(void)
{
  __disable_irq();
  while (1)
  {
  }
}
